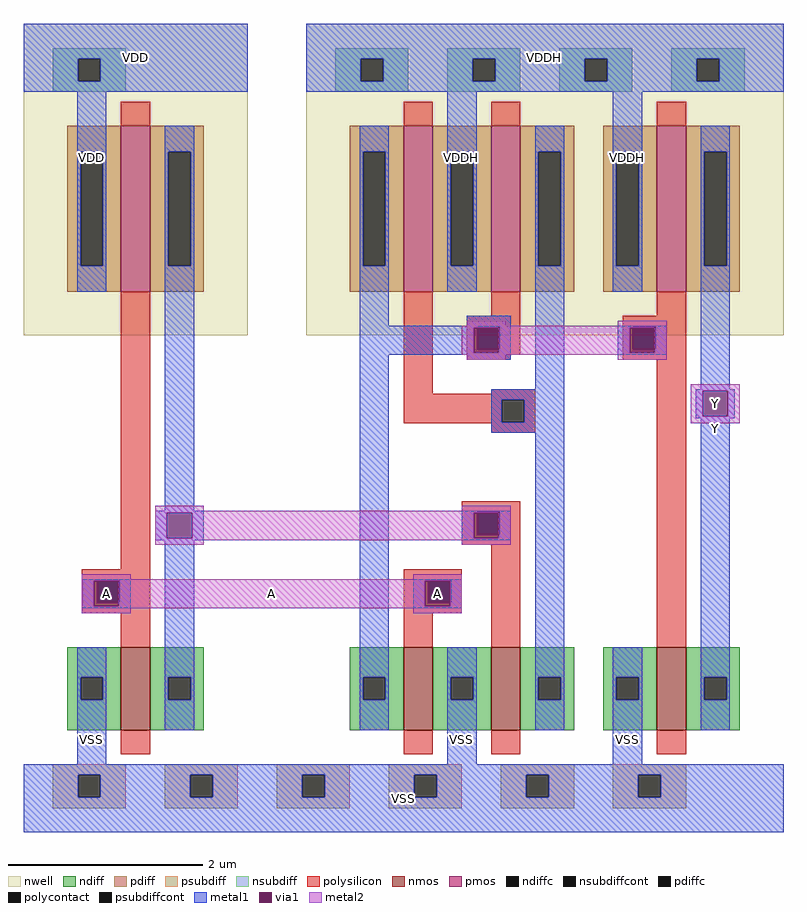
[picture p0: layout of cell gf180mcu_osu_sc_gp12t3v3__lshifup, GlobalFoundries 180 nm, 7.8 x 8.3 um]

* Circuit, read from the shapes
.subckt gf180mcu_osu_sc_gp12t3v3__lshifup A Y VDDH VDD VSS
XM1 n1 A VSS VSS nfet_03v3 w=0.85u l=0.3u
XM2 VSS A n2 VSS nfet_03v3 w=0.85u l=0.3u
XM3 n3 n1 VSS VSS nfet_03v3 w=0.85u l=0.3u
XM4 Y n2 VSS VSS nfet_03v3 w=0.85u l=0.3u
XM5 n1 A VDD VDD pfet_03v3 w=1.7u l=0.3u
XM6 VDDH n3 n2 VDDH pfet_03v3 w=1.7u l=0.3u
XM7 n3 n2 VDDH VDDH pfet_03v3 w=1.7u l=0.3u
XM8 Y n2 VDDH VDDH pfet_03v3 w=1.7u l=0.3u
.ends

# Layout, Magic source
magic
tech gf180mcuA
magscale 1 10
<< nwell >>
rect 0 1020 460 1660
rect 580 1020 1560 1660
<< nmos >>
rect 200 210 260 380
rect 780 210 840 380
rect 960 210 1020 380
rect 1300 210 1360 380
<< pmos >>
rect 200 1110 260 1450
rect 780 1110 840 1450
rect 960 1110 1020 1450
rect 1300 1110 1360 1450
<< ndiff >>
rect 90 318 200 380
rect 90 272 117 318
rect 163 272 200 318
rect 90 210 200 272
rect 260 318 370 380
rect 260 272 297 318
rect 343 272 370 318
rect 260 210 370 272
rect 670 318 780 380
rect 670 272 697 318
rect 743 272 780 318
rect 670 210 780 272
rect 840 318 960 380
rect 840 272 877 318
rect 923 272 960 318
rect 840 210 960 272
rect 1020 318 1130 380
rect 1020 272 1057 318
rect 1103 272 1130 318
rect 1020 210 1130 272
rect 1190 318 1300 380
rect 1190 272 1217 318
rect 1263 272 1300 318
rect 1190 210 1300 272
rect 1360 318 1470 380
rect 1360 272 1397 318
rect 1443 272 1470 318
rect 1360 210 1470 272
<< pdiff >>
rect 90 1397 200 1450
rect 90 1163 117 1397
rect 163 1163 200 1397
rect 90 1110 200 1163
rect 260 1397 370 1450
rect 260 1163 297 1397
rect 343 1163 370 1397
rect 260 1110 370 1163
rect 670 1397 780 1450
rect 670 1163 697 1397
rect 743 1163 780 1397
rect 670 1110 780 1163
rect 840 1397 960 1450
rect 840 1163 877 1397
rect 923 1163 960 1397
rect 840 1110 960 1163
rect 1020 1397 1130 1450
rect 1020 1163 1057 1397
rect 1103 1163 1130 1397
rect 1020 1110 1130 1163
rect 1190 1397 1300 1450
rect 1190 1163 1217 1397
rect 1263 1163 1300 1397
rect 1190 1110 1300 1163
rect 1360 1397 1470 1450
rect 1360 1163 1397 1397
rect 1443 1163 1470 1397
rect 1360 1110 1470 1163
<< ndiffc >>
rect 117 272 163 318
rect 297 272 343 318
rect 697 272 743 318
rect 877 272 923 318
rect 1057 272 1103 318
rect 1217 272 1263 318
rect 1397 272 1443 318
<< pdiffc >>
rect 117 1163 163 1397
rect 297 1163 343 1397
rect 697 1163 743 1397
rect 877 1163 923 1397
rect 1057 1163 1103 1397
rect 1217 1163 1263 1397
rect 1397 1163 1443 1397
<< psubdiff >>
rect 60 118 210 140
rect 60 72 112 118
rect 158 72 210 118
rect 60 50 210 72
rect 290 118 440 140
rect 290 72 342 118
rect 388 72 440 118
rect 290 50 440 72
rect 520 118 670 140
rect 520 72 572 118
rect 618 72 670 118
rect 520 50 670 72
rect 750 118 900 140
rect 750 72 802 118
rect 848 72 900 118
rect 750 50 900 72
rect 980 118 1130 140
rect 980 72 1032 118
rect 1078 72 1130 118
rect 980 50 1130 72
rect 1210 118 1360 140
rect 1210 72 1262 118
rect 1308 72 1360 118
rect 1210 50 1360 72
<< nsubdiff >>
rect 60 1588 210 1610
rect 60 1542 112 1588
rect 158 1542 210 1588
rect 60 1520 210 1542
rect 640 1588 790 1610
rect 640 1542 692 1588
rect 738 1542 790 1588
rect 640 1520 790 1542
rect 870 1588 1020 1610
rect 870 1542 922 1588
rect 968 1542 1020 1588
rect 870 1520 1020 1542
rect 1100 1588 1250 1610
rect 1100 1542 1152 1588
rect 1198 1542 1250 1588
rect 1100 1520 1250 1542
rect 1330 1588 1480 1610
rect 1330 1542 1382 1588
rect 1428 1542 1480 1588
rect 1330 1520 1480 1542
<< psubdiffcont >>
rect 112 72 158 118
rect 342 72 388 118
rect 572 72 618 118
rect 802 72 848 118
rect 1032 72 1078 118
rect 1262 72 1308 118
<< nsubdiffcont >>
rect 112 1542 158 1588
rect 692 1542 738 1588
rect 922 1542 968 1588
rect 1152 1542 1198 1588
rect 1382 1542 1428 1588
<< polysilicon >>
rect 200 1450 260 1500
rect 780 1450 840 1500
rect 960 1450 1020 1500
rect 1300 1450 1360 1500
rect 200 540 260 1110
rect 780 900 840 1110
rect 960 1060 1020 1110
rect 1300 1060 1360 1110
rect 910 1038 1020 1060
rect 910 992 932 1038
rect 978 992 1020 1038
rect 910 980 1020 992
rect 1230 1038 1360 1060
rect 1230 992 1252 1038
rect 1298 992 1360 1038
rect 910 970 1000 980
rect 1230 970 1360 992
rect 960 900 1050 910
rect 780 888 1050 900
rect 780 842 982 888
rect 1028 842 1050 888
rect 780 840 1050 842
rect 960 820 1050 840
rect 900 658 1020 680
rect 900 612 932 658
rect 978 612 1020 658
rect 900 590 1020 612
rect 120 518 260 540
rect 120 472 152 518
rect 198 472 260 518
rect 120 450 260 472
rect 200 380 260 450
rect 780 518 900 540
rect 780 472 832 518
rect 878 472 900 518
rect 780 450 900 472
rect 780 380 840 450
rect 960 380 1020 590
rect 1300 380 1360 970
rect 200 160 260 210
rect 780 160 840 210
rect 960 160 1020 210
rect 1300 160 1360 210
<< polycontact >>
rect 932 992 978 1038
rect 1252 992 1298 1038
rect 982 842 1028 888
rect 932 612 978 658
rect 152 472 198 518
rect 832 472 878 518
<< metal1 >>
rect 0 1588 460 1660
rect 0 1542 112 1588
rect 158 1542 460 1588
rect 0 1520 460 1542
rect 580 1588 1560 1660
rect 580 1542 692 1588
rect 738 1542 922 1588
rect 968 1542 1152 1588
rect 1198 1542 1382 1588
rect 1428 1542 1560 1588
rect 580 1520 1560 1542
rect 110 1397 170 1520
rect 110 1163 117 1397
rect 163 1163 170 1397
rect 110 1110 170 1163
rect 290 1397 350 1450
rect 290 1163 297 1397
rect 343 1163 350 1397
rect 290 660 350 1163
rect 690 1397 750 1450
rect 690 1163 697 1397
rect 743 1163 750 1397
rect 690 1040 750 1163
rect 870 1397 930 1520
rect 870 1163 877 1397
rect 923 1163 930 1397
rect 870 1110 930 1163
rect 1050 1397 1110 1450
rect 1050 1163 1057 1397
rect 1103 1163 1110 1397
rect 910 1040 1000 1060
rect 690 1038 1000 1040
rect 690 1036 932 1038
rect 690 984 924 1036
rect 978 992 1000 1038
rect 976 984 1000 992
rect 690 980 1000 984
rect 270 656 370 660
rect 270 604 294 656
rect 346 604 370 656
rect 270 600 370 604
rect 120 518 220 520
rect 120 516 152 518
rect 120 464 144 516
rect 198 472 220 518
rect 196 464 220 472
rect 120 460 220 464
rect 110 318 170 380
rect 110 272 117 318
rect 163 272 170 318
rect 110 140 170 272
rect 290 318 350 600
rect 290 272 297 318
rect 343 272 350 318
rect 290 210 350 272
rect 690 318 750 980
rect 910 970 1000 980
rect 1050 910 1110 1163
rect 1210 1397 1270 1520
rect 1210 1163 1217 1397
rect 1263 1163 1270 1397
rect 1210 1110 1270 1163
rect 1390 1397 1450 1450
rect 1390 1163 1397 1397
rect 1443 1163 1450 1397
rect 1220 1038 1320 1040
rect 1220 1036 1252 1038
rect 1220 984 1244 1036
rect 1298 992 1320 1038
rect 1296 984 1320 992
rect 1220 980 1320 984
rect 1390 910 1450 1163
rect 960 888 1110 910
rect 960 842 982 888
rect 1028 842 1110 888
rect 1380 906 1460 910
rect 1380 854 1394 906
rect 1446 854 1460 906
rect 1380 850 1460 854
rect 960 820 1110 842
rect 900 658 1000 660
rect 900 656 932 658
rect 900 604 924 656
rect 978 612 1000 658
rect 976 604 1000 612
rect 900 600 1000 604
rect 800 518 900 520
rect 800 516 832 518
rect 800 464 824 516
rect 878 472 900 518
rect 876 464 900 472
rect 800 460 900 464
rect 690 272 697 318
rect 743 272 750 318
rect 690 210 750 272
rect 870 318 930 380
rect 870 272 877 318
rect 923 272 930 318
rect 870 140 930 272
rect 1050 318 1110 820
rect 1050 272 1057 318
rect 1103 272 1110 318
rect 1050 210 1110 272
rect 1210 318 1270 380
rect 1210 272 1217 318
rect 1263 272 1270 318
rect 1210 140 1270 272
rect 1390 318 1450 850
rect 1390 272 1397 318
rect 1443 272 1450 318
rect 1390 210 1450 272
rect 0 118 1560 140
rect 0 72 112 118
rect 158 72 342 118
rect 388 72 572 118
rect 618 72 802 118
rect 848 72 1032 118
rect 1078 72 1262 118
rect 1308 72 1560 118
rect 0 0 1560 72
<< via1 >>
rect 924 992 932 1036
rect 932 992 976 1036
rect 924 984 976 992
rect 294 604 346 656
rect 144 472 152 516
rect 152 472 196 516
rect 144 464 196 472
rect 1244 992 1252 1036
rect 1252 992 1296 1036
rect 1244 984 1296 992
rect 1394 854 1446 906
rect 924 612 932 656
rect 932 612 976 656
rect 924 604 976 612
rect 824 472 832 516
rect 832 472 876 516
rect 824 464 876 472
<< metal2 >>
rect 910 1040 990 1050
rect 1220 1040 1320 1050
rect 900 1036 1320 1040
rect 900 984 924 1036
rect 976 984 1244 1036
rect 1296 984 1320 1036
rect 900 980 1320 984
rect 910 970 990 980
rect 1220 970 1320 980
rect 1370 906 1470 920
rect 1370 854 1394 906
rect 1446 854 1470 906
rect 1370 840 1470 854
rect 270 660 370 670
rect 900 660 1000 670
rect 270 656 1000 660
rect 270 604 294 656
rect 346 604 924 656
rect 976 604 1000 656
rect 270 600 1000 604
rect 270 590 370 600
rect 900 590 1000 600
rect 120 520 220 530
rect 800 520 900 530
rect 120 516 900 520
rect 120 464 144 516
rect 196 464 824 516
rect 876 464 900 516
rect 120 460 900 464
rect 120 450 220 460
rect 800 450 900 460
<< labels >>
rlabel via1 s 824 464 876 516 4 A
port 1 nsew signal input
rlabel via1 s 1394 854 1446 906 4 Y
port 2 nsew signal output
rlabel metal1 s 870 1110 930 1660 4 VDDH
port 3 nsew power bidirectional
rlabel metal1 s 110 1110 170 1660 4 VDD
port 4 nsew power bidirectional abutment
rlabel metal1 s 110 0 170 380 4 VSS
port 5 nsew ground bidirectional abutment
rlabel metal1 s 0 1520 460 1660 1 VDD
port 4 nsew power bidirectional abutment
rlabel metal1 s 1210 1110 1270 1660 1 VDDH
port 3 nsew power bidirectional
rlabel metal1 s 580 1520 1560 1660 1 VDDH
port 3 nsew power bidirectional
rlabel metal1 s 870 0 930 380 1 VSS
port 5 nsew ground bidirectional abutment
rlabel metal1 s 1210 0 1270 380 1 VSS
port 5 nsew ground bidirectional abutment
rlabel metal1 s 0 0 1560 140 1 VSS
port 5 nsew ground bidirectional abutment
rlabel via1 s 144 464 196 516 1 A
port 1 nsew signal input
rlabel metal2 s 120 450 220 530 1 A
port 1 nsew signal input
rlabel metal2 s 120 460 900 520 1 A
port 1 nsew signal input
rlabel metal2 s 800 450 900 530 1 A
port 1 nsew signal input
rlabel metal1 s 120 460 220 520 1 A
port 1 nsew signal input
rlabel metal1 s 800 460 900 520 1 A
port 1 nsew signal input
rlabel metal2 s 1370 840 1470 920 1 Y
port 2 nsew signal output
rlabel metal1 s 1390 210 1450 1450 1 Y
port 2 nsew signal output
rlabel metal1 s 1380 850 1460 910 1 Y
port 2 nsew signal output
<< properties >>
string FIXED_BBOX 0 0 1560 1660
string GDS_END 457638
string GDS_FILE $PDKPATH/libs.ref/gf180mcu_osu_sc_gp12t3v3/gds/gf180mcu_osu_sc_gp12t3v3.gds
string GDS_START 447838
string LEFclass CORE
string LEFsite gf180mcu_osu_sc_gp12t3v3
string LEFsymmetry X Y
<< end >>
